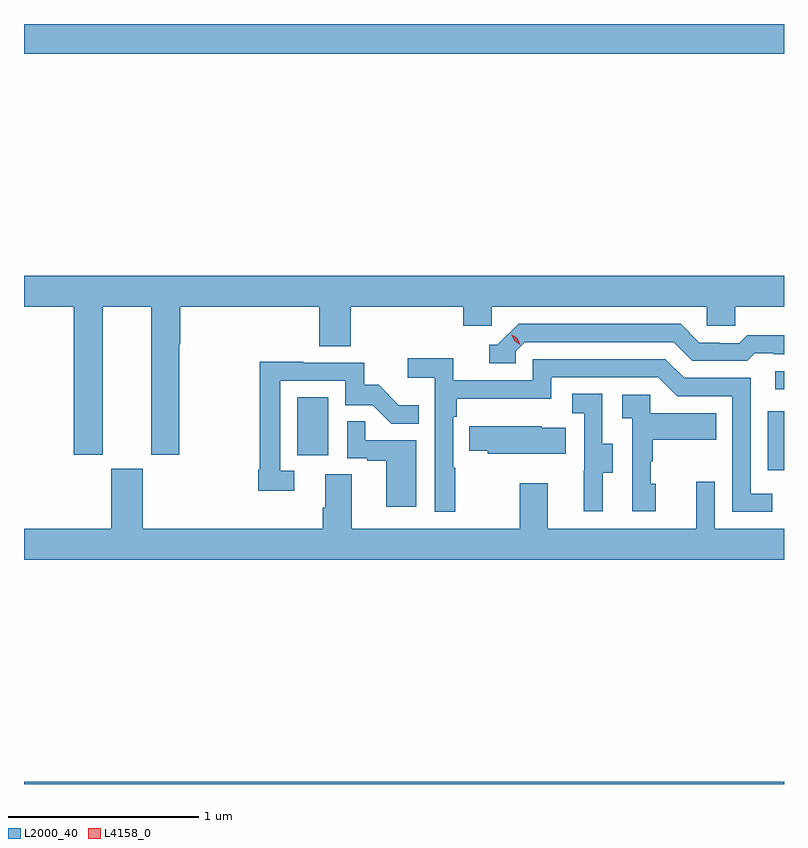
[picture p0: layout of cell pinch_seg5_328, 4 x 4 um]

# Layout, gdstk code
import gdstk
lib = gdstk.Library(unit=1e-6, precision=1e-09)
def R(c, l, rs):  # rectangles x0, y0, x1, y1
    for r in rs: c.add(gdstk.rectangle(r[:2], r[2:], *l))
def P(c, l, *ps):  # polygons
    for p in ps: c.add(gdstk.Polygon(p, *l))
L2000_40 = (2000, 40)
L4158_0 = (4158, 0)

pinch_seg5_328 = lib.new_cell('pinch_seg5_328')
R(pinch_seg5_328, L2000_40, [(934.888,887.549,938.888,887.56), (938.802,889.2,938.888,889.51), (936.326,889.278,936.49,889.585), (938.841,889.626,938.888,889.722), (934.888,891.392,938.888,891.549)])
P(pinch_seg5_328, L2000_40, [(935.302,890.06),(935.558,890.06),(935.558,889.281),(935.706,889.281),(935.706,889.864),(935.711,889.864),(935.711,890.06),(936.443,890.06),(936.443,889.852),(936.608,889.852),(936.608,890.06),(937.199,890.06),(937.199,889.962),(937.35,889.962),(937.35,890.06),(938.481,890.06),(938.481,889.962),(938.631,889.962),(938.631,890.06),(938.888,890.06),(938.888,890.224),(934.888,890.224),(934.888,890.06),(935.15,890.06),(935.15,889.281),(935.302,889.281)],
  [(937.476,889.827),(937.524,889.875),(938.307,889.875),(938.406,889.776),(938.695,889.776),(938.734,889.815),(938.833,889.815),(938.833,889.812),(938.888,889.812),(938.888,889.912),(938.695,889.912),(938.653,889.869),(938.55,889.869),(938.55,889.872),(938.443,889.872),(938.344,889.971),(937.491,889.971),(937.38,889.86),(937.337,889.86),(937.337,889.764),(937.476,889.764)],
  [(937.159,889.214),(937.146,889.214),(937.146,889.481),(937.166,889.481),(937.166,889.577),(937.662,889.577),(937.662,889.689),(938.226,889.689),(938.325,889.59),(938.616,889.59),(938.616,888.981),(938.825,888.981),(938.825,889.077),(938.712,889.077),(938.712,889.686),(938.362,889.686),(938.263,889.785),(937.566,889.785),(937.566,889.674),(937.148,889.674),(937.148,889.79),(936.909,889.79),(936.909,889.688),(937.05,889.688),(937.05,888.981),(937.159,888.981)],
  [(936.31,889.197),(936.237,889.197),(936.237,889.671),(936.579,889.671),(936.579,889.542),(936.723,889.542),(936.821,889.444),(936.965,889.444),(936.965,889.543),(936.861,889.543),(936.754,889.65),(936.678,889.65),(936.678,889.767),(936.359,889.767),(936.359,889.772),(936.129,889.772),(936.129,889.204),(936.121,889.204),(936.121,889.092),(936.31,889.092)],
  [(937.933,889.186),(937.987,889.186),(937.987,889.341),(937.932,889.341),(937.932,889.604),(937.773,889.604),(937.773,889.501),(937.836,889.501),(937.836,889.197),(937.835,889.197),(937.835,888.984),(937.933,888.984)],
  [(938.212,889.128),(938.187,889.128),(938.187,889.247),(938.197,889.247),(938.197,889.361),(938.531,889.361),(938.531,889.501),(938.184,889.501),(938.184,889.599),(938.037,889.599),(938.037,889.475),(938.088,889.475),(938.088,888.984),(938.212,888.984)],
  [(936.952,889.359),(936.683,889.359),(936.683,889.457),(936.588,889.457),(936.588,889.263),(936.695,889.263),(936.695,889.251),(936.794,889.251),(936.794,889.008),(936.952,889.008)],
  [(937.739,889.423),(937.614,889.423),(937.614,889.432),(937.231,889.432),(937.231,889.303),(937.329,889.303),(937.329,889.286),(937.739,889.286)],
  [(938.888,888.892),(938.523,888.892),(938.523,889.141),(938.426,889.141),(938.426,888.892),(937.645,888.892),(937.645,889.132),(937.498,889.132),(937.498,888.892),(936.613,888.892),(936.613,889.178),(936.473,889.178),(936.473,889.004),(936.461,889.004),(936.461,888.892),(935.512,888.892),(935.512,889.209),(935.348,889.209),(935.348,888.892),(934.888,888.892),(934.888,888.728),(938.888,888.728)])
P(pinch_seg5_328, L4158_0, [(937.499,889.861),(937.469,889.881),(937.454,889.913),(937.454,889.914),(937.454,889.914),(937.484,889.894),(937.5,889.861),(937.5,889.861)])

lib.write_gds('pinch_seg5_328.gds')
